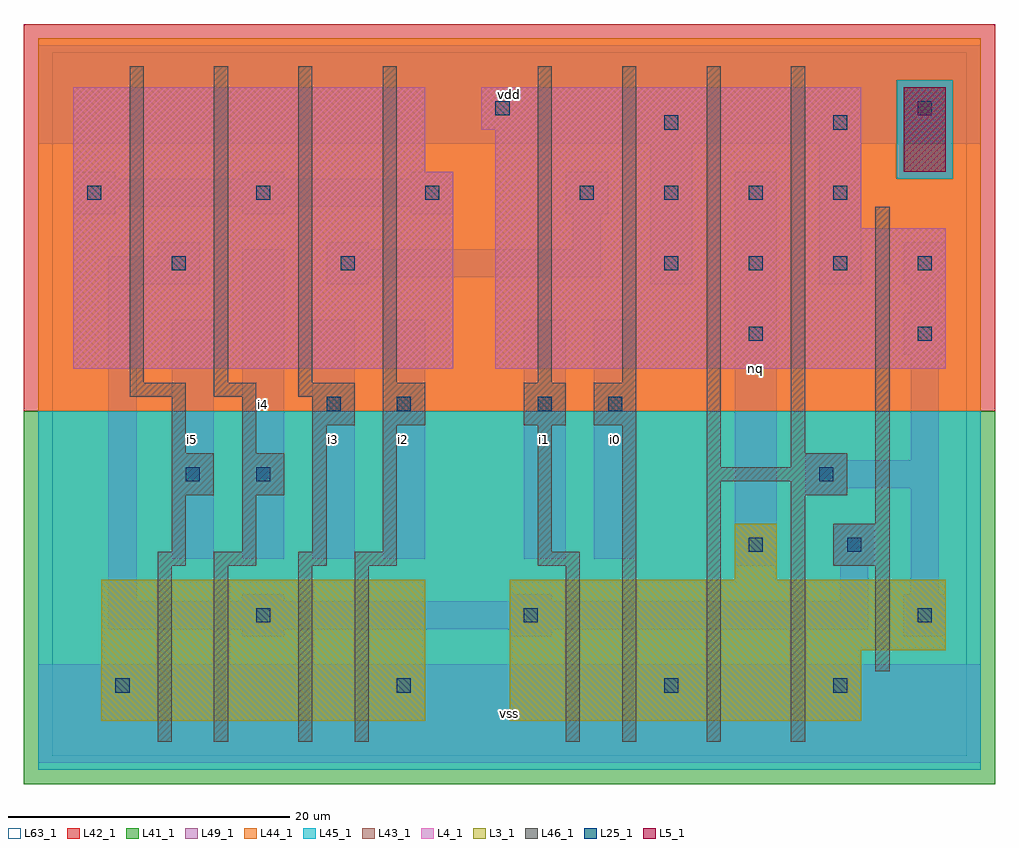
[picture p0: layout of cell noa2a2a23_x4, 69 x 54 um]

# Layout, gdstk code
import gdstk
lib = gdstk.Library(unit=1e-6, precision=1e-09)
def R(c, l, rs):  # rectangles x0, y0, x1, y1
    for r in rs: c.add(gdstk.rectangle(r[:2], r[2:], *l))
def A(c, l, x, y, w, h, nx, ny, dx, dy):  # array of equal rectangles
    R(c, l, [(x+i*dx, y+j*dy, x+i*dx+w, y+j*dy+h) for i in range(nx) for j in range(ny)])
L3_1 = (3, 1)
L4_1 = (4, 1)
L5_1 = (5, 1)
L25_1 = (25, 1)
L41_1 = (41, 1)
L42_1 = (42, 1)
L43_1 = (43, 1)
L44_1 = (44, 1)
L45_1 = (45, 1)
L46_1 = (46, 1)
L49_1 = (49, 1)
L63_1 = (63, 1)

noa2a2a23_x4 = lib.new_cell('noa2a2a23_x4')
R(noa2a2a23_x4, L3_1, [(3.5,2.5,26.5,12.5), (32.5,2.5,57.5,7.5), (32.5,7.5,63.5,12.5), (48.5,12.5,51.5,16.5)])
R(noa2a2a23_x4, L4_1, [(1.5,27.5,28.5,41.5), (31.5,27.5,63.5,37.5), (31.5,37.5,57.5,44.5), (1.5,41.5,26.5,47.5), (30.5,44.5,57.5,47.5)])
R(noa2a2a23_x4, L5_1, [(60.5,41.5,63.5,47.5)])
A(noa2a2a23_x4, L25_1, 43.5, 34.5, 1, 1, 4, 1, 6, 0)
A(noa2a2a23_x4, L25_1, 2.5, 39.5, 1, 1, 3, 1, 12, 0)
A(noa2a2a23_x4, L25_1, 37.5, 39.5, 1, 1, 4, 1, 6, 0)
R(noa2a2a23_x4, L25_1, [(4.5,4.5,5.5,5.5), (24.5,4.5,25.5,5.5), (43.5,4.5,44.5,5.5), (55.5,4.5,56.5,5.5), (14.5,9.5,15.5,10.5), (33.5,9.5,34.5,10.5), (61.5,9.5,62.5,10.5), (49.5,14.5,50.5,15.5), (56.5,14.5,57.5,15.5), (9.5,19.5,10.5,20.5), (14.5,19.5,15.5,20.5), (54.5,19.5,55.5,20.5), (19.5,24.5,20.5,25.5), (24.5,24.5,25.5,25.5), (34.5,24.5,35.5,25.5), (39.5,24.5,40.5,25.5), (49.5,29.5,50.5,30.5), (61.5,29.5,62.5,30.5), (8.5,34.5,9.5,35.5), (20.5,34.5,21.5,35.5), (43.5,44.5,44.5,45.5), (55.5,44.5,56.5,45.5), (31.5,45.5,32.5,46.5), (61.5,45.5,62.5,46.5)])
R(noa2a2a23_x4, L41_1, [(-2,-2,67,24.5)])
R(noa2a2a23_x4, L42_1, [(-2,24.5,67,52)])
R(noa2a2a23_x4, L43_1, [(3.5,2.5,26.5,12.5), (32.5,2.5,57.5,7.5), (32.5,7.5,63.5,12.5), (48.5,12.5,51.5,16.5), (1.5,27.5,28.5,41.5), (31.5,27.5,63.5,37.5), (31.5,37.5,57.5,44.5), (1.5,41.5,26.5,47.5), (60.5,41.5,63.5,47.5), (30.5,44.5,57.5,47.5)])
R(noa2a2a23_x4, L44_1, [(-1,24.5,66,41), (-1,41,60,48), (64,41,66,48), (-1,48,66,51)])
R(noa2a2a23_x4, L45_1, [(-1,-1,66,24.5), (60,41,64,48)])
A(noa2a2a23_x4, L46_1, 5.5, 26.5, 1, 22.5, 4, 1, 6, 0)
R(noa2a2a23_x4, L46_1, [(7.5,1,8.5,13.5), (11.5,1,12.5,13.5), (17.5,1,18.5,13.5), (21.5,1,22.5,13.5), (36.5,1,37.5,13.5), (40.5,1,41.5,23.5), (46.5,1,47.5,19.5), (52.5,1,53.5,18.5), (58.5,6,59.5,13.5), (7.5,13.5,9.5,14.5), (11.5,13.5,14.5,14.5), (17.5,13.5,19.5,14.5), (21.5,13.5,24.5,14.5), (34.5,13.5,37.5,14.5), (55.5,13.5,59.5,16.5), (8.5,14.5,9.5,18.5), (13.5,14.5,14.5,18.5), (18.5,14.5,19.5,23.5), (23.5,14.5,24.5,23.5), (34.5,14.5,35.5,23.5), (58.5,16.5,59.5,39), (8.5,18.5,11.5,21.5), (13.5,18.5,16.5,21.5), (52.5,18.5,56.5,19.5), (46.5,19.5,56.5,20.5), (46.5,20.5,47.5,49), (52.5,20.5,56.5,21.5), (8.5,21.5,9.5,25.5), (13.5,21.5,14.5,25.5), (52.5,21.5,53.5,49), (18.5,23.5,21.5,25.5), (23.5,23.5,26.5,26.5), (33.5,23.5,36.5,26.5), (38.5,23.5,41.5,26.5), (5.5,25.5,9.5,26.5), (11.5,25.5,14.5,26.5), (17.5,25.5,21.5,26.5), (34.5,26.5,35.5,49), (40.5,26.5,41.5,49)])
A(noa2a2a23_x4, L49_1, 1.5, 38.5, 3, 0.5, 3, 2, 12, 2.5)
R(noa2a2a23_x4, L49_1, [(-1,-0.5,66,6.5), (13.5,8.5,16.5,9), (32.5,8.5,35.5,9), (60.5,8.5,63.5,11.5), (4,9,58,11), (4,11,6,33.5), (13.5,11,16.5,11.5), (32.5,11,35.5,11.5), (56,11,58,13.5), (61,11.5,63,19), (48.5,13.5,51.5,41.5), (55.5,13.5,58.5,16.5), (8.5,14,11.5,31), (13.5,14,16.5,36), (18.5,14,21.5,31), (23.5,14,26.5,31), (33.5,14,36.5,31), (38.5,14,41.5,31), (53.5,18.5,56.5,19), (53.5,19,63,21), (53.5,21,56.5,21.5), (61,21,63,28.5), (60.5,28.5,63.5,31.5), (61,31.5,63,33.5), (4,33.5,10.5,35.5), (19.5,33.5,22.5,34), (42.5,33.5,45.5,43.5), (54.5,33.5,57.5,43.5), (60.5,33.5,63.5,36.5), (19.5,34,39,36), (7.5,35.5,10.5,36.5), (19.5,36,22.5,36.5), (37,36,39,38.5), (36.5,38.5,39.5,41.5), (1.5,39,28.5,41), (-1,43.5,66,50.5)])
R(noa2a2a23_x4, L63_1, [(0,0,65,50)])
noa2a2a23_x4.add(gdstk.Label('i5', (10,22.5), layer=49, texttype=1))
noa2a2a23_x4.add(gdstk.Label('i5', (10,22.5), layer=49, texttype=1))
noa2a2a23_x4.add(gdstk.Label('i3', (20,22.5), layer=49, texttype=1))
noa2a2a23_x4.add(gdstk.Label('i4', (15,25), layer=49, texttype=1))
noa2a2a23_x4.add(gdstk.Label('i4', (15,25), layer=49, texttype=1))
noa2a2a23_x4.add(gdstk.Label('i3', (20,22.5), layer=49, texttype=1))
noa2a2a23_x4.add(gdstk.Label('vss', (32.5,3), layer=49, texttype=1))
noa2a2a23_x4.add(gdstk.Label('vss', (32.5,3), layer=49, texttype=1))
noa2a2a23_x4.add(gdstk.Label('i2', (25,22.5), layer=49, texttype=1))
noa2a2a23_x4.add(gdstk.Label('i2', (25,22.5), layer=49, texttype=1))
noa2a2a23_x4.add(gdstk.Label('i1', (35,22.5), layer=49, texttype=1))
noa2a2a23_x4.add(gdstk.Label('i1', (35,22.5), layer=49, texttype=1))
noa2a2a23_x4.add(gdstk.Label('vdd', (32.5,47), layer=49, texttype=1))
noa2a2a23_x4.add(gdstk.Label('vdd', (32.5,47), layer=49, texttype=1))
noa2a2a23_x4.add(gdstk.Label('i0', (40,22.5), layer=49, texttype=1))
noa2a2a23_x4.add(gdstk.Label('i0', (40,22.5), layer=49, texttype=1))
noa2a2a23_x4.add(gdstk.Label('nq', (50,27.5), layer=49, texttype=1))
noa2a2a23_x4.add(gdstk.Label('nq', (50,27.5), layer=49, texttype=1))

lib.write_gds('noa2a2a23_x4.gds')
